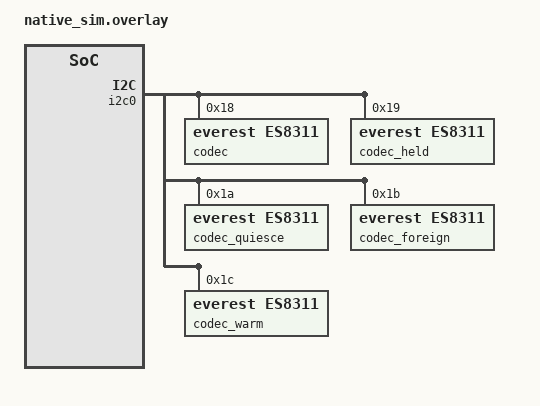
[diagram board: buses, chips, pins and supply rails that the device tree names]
/*
 * Copyright (c) 2026 Hsiu-Chi Tsai
 * SPDX-License-Identifier: Apache-2.0
 */

/*
 * Five emulated parts on one bus.
 *
 * A real ES8311 answers at 0x18 or 0x19 and nowhere else: the CE pin picks between the two,
 * and the binding says so. These are emulator slots rather than a claim about a board, and
 * they are on the same footing as the arbitrary addresses every other codec gets in
 * tests/drivers/build_all/audio/i2c_devices.overlay.
 *
 * Splitting them across three emulated buses so that each could sit at 0x18 or 0x19 does NOT
 * work, and the reason is worth writing down: emul_init_for_bus() resolves each child with
 * emul_get_binding(elp->dev->name), and a Zephyr device's name is DT_NODE_FULL_NAME -- the
 * node's own name, not its path. Three buses each carrying an "es8311@18" therefore produce
 * three devices with the SAME name, every bus looks up and re-registers the FIRST emulator of
 * that name, and the one struct i2c_emul gets appended to three different slists. The lists
 * corrupt each other, and lookups start missing parts that the boot log says it registered.
 */
&i2c0 {
	status = "okay";

	codec: es8311@18 {
		compatible = "everest,es8311";
		reg = <0x18>;
		status = "okay";
	};

	/*
	 * Every test that watches init() run gets an instance that has never been initialised,
	 * so it can put the emulated part into a state a previous firmware can leave it in
	 * BEFORE the driver ever probes it. device_init() returns -EALREADY on an
	 * already-initialised device, so the boot-time instance above cannot serve for this --
	 * and reaching into codec->state->initialized to fake a re-probe is worse: that is
	 * Zephyr's internal device state, it is not a test contract, and a test that writes it
	 * is one refactor away from testing nothing.
	 */

	/* A part held by INI_REG: its register file pinned at the defaults, every read 0x00. */
	codec_held: es8311@19 {
		compatible = "everest,es8311";
		reg = <0x19>;
		status = "okay";
		zephyr,deferred-init;
	};

	/* A part on a bus that fails one of init()'s safety writes. */
	codec_quiesce: es8311@1a {
		compatible = "everest,es8311";
		reg = <0x1a>;
		status = "okay";
		zephyr,deferred-init;
	};

	/* A part that is not an ES8311, and says so twice. */
	codec_foreign: es8311@1b {
		compatible = "everest,es8311";
		reg = <0x1b>;
		status = "okay";
		zephyr,deferred-init;
	};

	/* A part warm-rebooted out of a capture route: PGA powered, MIC1 still on the mux. */
	codec_warm: es8311@1c {
		compatible = "everest,es8311";
		reg = <0x1c>;
		status = "okay";
		zephyr,deferred-init;
	};
};
